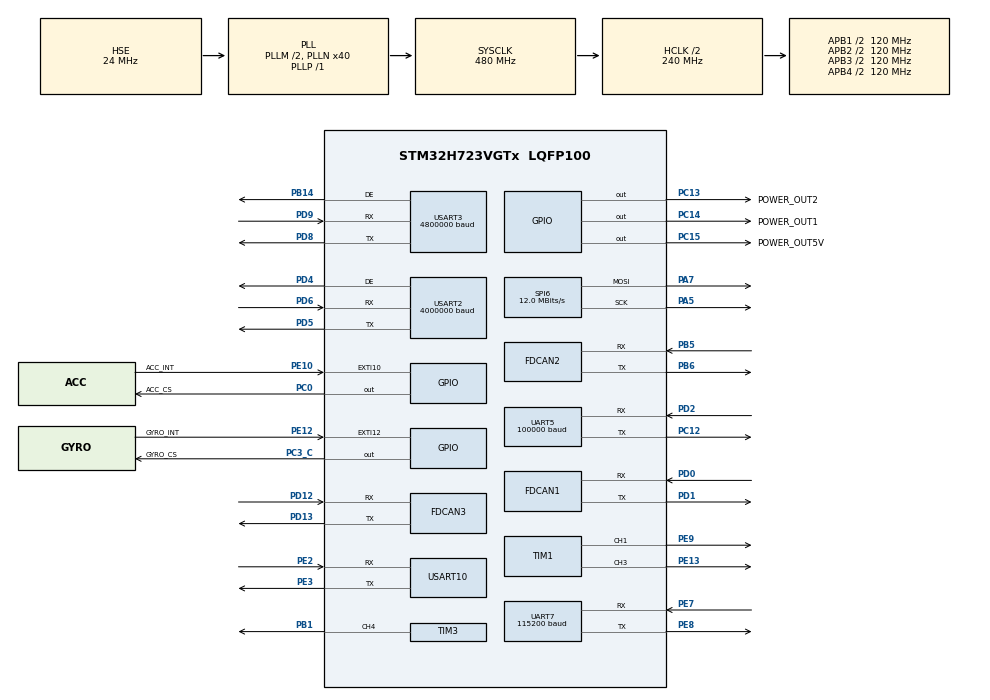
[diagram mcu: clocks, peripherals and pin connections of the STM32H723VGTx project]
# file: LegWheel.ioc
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CRC.DefaultPolynomialUse=DEFAULT_POLYNOMIAL_DISABLE
Dma.Request0=USART2_RX
Dma.Request1=UART7_RX
Dma.Request2=UART7_TX
Dma.Request3=USART10_RX
Dma.Request4=USART10_TX
Dma.Request5=UART5_RX
Dma.UART5_RX.5.Direction=DMA_PERIPH_TO_MEMORY
Dma.UART5_RX.5.EventEnable=DISABLE
Dma.UART5_RX.5.FIFOMode=DMA_FIFOMODE_DISABLE
Dma.UART5_RX.5.Instance=DMA1_Stream1
Dma.UART5_RX.5.MemDataAlignment=DMA_MDATAALIGN_BYTE
Dma.UART5_RX.5.MemInc=DMA_MINC_ENABLE
Dma.UART5_RX.5.Mode=DMA_CIRCULAR
Dma.UART5_RX.5.PeriphDataAlignment=DMA_PDATAALIGN_BYTE
Dma.UART5_RX.5.PeriphInc=DMA_PINC_DISABLE
Dma.UART5_RX.5.Polarity=HAL_DMAMUX_REQ_GEN_RISING
Dma.UART5_RX.5.Priority=DMA_PRIORITY_VERY_HIGH
Dma.UART5_RX.5.RequestNumber=1
Dma.UART5_RX.5.SignalID=NONE
Dma.UART5_RX.5.SyncEnable=DISABLE
Dma.UART5_RX.5.SyncPolarity=HAL_DMAMUX_SYNC_NO_EVENT
Dma.UART5_RX.5.SyncRequestNumber=1
Dma.UART5_RX.5.SyncSignalID=NONE
Dma.UART7_RX.1.Direction=DMA_PERIPH_TO_MEMORY
Dma.UART7_RX.1.EventEnable=DISABLE
Dma.UART7_RX.1.FIFOMode=DMA_FIFOMODE_DISABLE
Dma.UART7_RX.1.Instance=DMA2_Stream2
Dma.UART7_RX.1.MemDataAlignment=DMA_MDATAALIGN_BYTE
Dma.UART7_RX.1.MemInc=DMA_MINC_ENABLE
Dma.UART7_RX.1.Mode=DMA_CIRCULAR
Dma.UART7_RX.1.PeriphDataAlignment=DMA_PDATAALIGN_BYTE
Dma.UART7_RX.1.PeriphInc=DMA_PINC_DISABLE
Dma.UART7_RX.1.Polarity=HAL_DMAMUX_REQ_GEN_RISING
Dma.UART7_RX.1.Priority=DMA_PRIORITY_VERY_HIGH
Dma.UART7_RX.1.RequestNumber=1
Dma.UART7_RX.1.SignalID=NONE
Dma.UART7_RX.1.SyncEnable=DISABLE
Dma.UART7_RX.1.SyncPolarity=HAL_DMAMUX_SYNC_NO_EVENT
Dma.UART7_RX.1.SyncRequestNumber=1
Dma.UART7_RX.1.SyncSignalID=NONE
Dma.UART7_TX.2.Direction=DMA_MEMORY_TO_PERIPH
Dma.UART7_TX.2.EventEnable=DISABLE
Dma.UART7_TX.2.FIFOMode=DMA_FIFOMODE_DISABLE
Dma.UART7_TX.2.Instance=DMA2_Stream1
Dma.UART7_TX.2.MemDataAlignment=DMA_MDATAALIGN_BYTE
Dma.UART7_TX.2.MemInc=DMA_MINC_ENABLE
Dma.UART7_TX.2.Mode=DMA_CIRCULAR
Dma.UART7_TX.2.PeriphDataAlignment=DMA_PDATAALIGN_BYTE
Dma.UART7_TX.2.PeriphInc=DMA_PINC_DISABLE
Dma.UART7_TX.2.Polarity=HAL_DMAMUX_REQ_GEN_RISING
Dma.UART7_TX.2.Priority=DMA_PRIORITY_VERY_HIGH
Dma.UART7_TX.2.RequestNumber=1
Dma.UART7_TX.2.SignalID=NONE
Dma.UART7_TX.2.SyncEnable=DISABLE
Dma.UART7_TX.2.SyncPolarity=HAL_DMAMUX_SYNC_NO_EVENT
Dma.UART7_TX.2.SyncRequestNumber=1
Dma.UART7_TX.2.SyncSignalID=NONE
Dma.USART10_RX.3.Direction=DMA_PERIPH_TO_MEMORY
Dma.USART10_RX.3.EventEnable=DISABLE
Dma.USART10_RX.3.FIFOMode=DMA_FIFOMODE_DISABLE
Dma.USART10_RX.3.Instance=DMA2_Stream3
Dma.USART10_RX.3.MemDataAlignment=DMA_MDATAALIGN_BYTE
Dma.USART10_RX.3.MemInc=DMA_MINC_ENABLE
Dma.USART10_RX.3.Mode=DMA_NORMAL
Dma.USART10_RX.3.PeriphDataAlignment=DMA_PDATAALIGN_BYTE
Dma.USART10_RX.3.PeriphInc=DMA_PINC_DISABLE
Dma.USART10_RX.3.Polarity=HAL_DMAMUX_REQ_GEN_RISING
Dma.USART10_RX.3.Priority=DMA_PRIORITY_VERY_HIGH
Dma.USART10_RX.3.RequestNumber=1
Dma.USART10_RX.3.SignalID=NONE
Dma.USART10_RX.3.SyncEnable=DISABLE
Dma.USART10_RX.3.SyncPolarity=HAL_DMAMUX_SYNC_NO_EVENT
Dma.USART10_RX.3.SyncRequestNumber=1
Dma.USART10_RX.3.SyncSignalID=NONE
Dma.USART10_TX.4.Direction=DMA_MEMORY_TO_PERIPH
Dma.USART10_TX.4.EventEnable=DISABLE
Dma.USART10_TX.4.FIFOMode=DMA_FIFOMODE_DISABLE
Dma.USART10_TX.4.Instance=DMA2_Stream4
Dma.USART10_TX.4.MemDataAlignment=DMA_MDATAALIGN_BYTE
Dma.USART10_TX.4.MemInc=DMA_MINC_ENABLE
Dma.USART10_TX.4.Mode=DMA_NORMAL
Dma.USART10_TX.4.PeriphDataAlignment=DMA_PDATAALIGN_BYTE
Dma.USART10_TX.4.PeriphInc=DMA_PINC_DISABLE
Dma.USART10_TX.4.Polarity=HAL_DMAMUX_REQ_GEN_RISING
Dma.USART10_TX.4.Priority=DMA_PRIORITY_VERY_HIGH
Dma.USART10_TX.4.RequestNumber=1
Dma.USART10_TX.4.SignalID=NONE
Dma.USART10_TX.4.SyncEnable=DISABLE
Dma.USART10_TX.4.SyncPolarity=HAL_DMAMUX_SYNC_NO_EVENT
Dma.USART10_TX.4.SyncRequestNumber=1
Dma.USART10_TX.4.SyncSignalID=NONE
Dma.USART2_RX.0.Direction=DMA_PERIPH_TO_MEMORY
Dma.USART2_RX.0.EventEnable=DISABLE
Dma.USART2_RX.0.FIFOMode=DMA_FIFOMODE_DISABLE
Dma.USART2_RX.0.Instance=DMA1_Stream0
Dma.USART2_RX.0.MemDataAlignment=DMA_MDATAALIGN_BYTE
Dma.USART2_RX.0.MemInc=DMA_MINC_ENABLE
Dma.USART2_RX.0.Mode=DMA_CIRCULAR
Dma.USART2_RX.0.PeriphDataAlignment=DMA_PDATAALIGN_BYTE
Dma.USART2_RX.0.PeriphInc=DMA_PINC_DISABLE
Dma.USART2_RX.0.Polarity=HAL_DMAMUX_REQ_GEN_RISING
Dma.USART2_RX.0.Priority=DMA_PRIORITY_VERY_HIGH
Dma.USART2_RX.0.RequestNumber=1
Dma.USART2_RX.0.SignalID=NONE
Dma.USART2_RX.0.SyncEnable=DISABLE
Dma.USART2_RX.0.SyncPolarity=HAL_DMAMUX_SYNC_NO_EVENT
Dma.USART2_RX.0.SyncRequestNumber=1
Dma.USART2_RX.0.SyncSignalID=NONE
FDCAN1.AutoRetransmission=ENABLE
FDCAN1.CalculateBaudRateNominal=1000000
FDCAN1.CalculateTimeBitNominal=1000
FDCAN1.CalculateTimeQuantumNominal=25.0
FDCAN1.DataPrescaler=3
FDCAN1.DataSyncJumpWidth=10
FDCAN1.DataTimeSeg1=29
FDCAN1.DataTimeSeg2=10
FDCAN1.NominalPrescaler=3
FDCAN1.NominalSyncJumpWidth=10
FDCAN1.NominalTimeSeg1=29
FDCAN1.NominalTimeSeg2=10
FDCAN1.ProtocolException=DISABLE
FDCAN1.RxFifo0ElmtsNbr=4
FDCAN1.StdFiltersNbr=1
FDCAN1.TxFifoQueueElmtsNbr=4
FDCAN2.AutoRetransmission=ENABLE
FDCAN2.CalculateBaudRateNominal=1000000
FDCAN2.CalculateTimeBitNominal=1000
FDCAN2.CalculateTimeQuantumNominal=25.0
FDCAN2.DataPrescaler=3
FDCAN2.DataSyncJumpWidth=10
FDCAN2.DataTimeSeg1=29
FDCAN2.DataTimeSeg2=10
FDCAN2.MessageRAMOffset=854
FDCAN2.NominalPrescaler=3
FDCAN2.NominalSyncJumpWidth=10
FDCAN2.NominalTimeSeg1=29
FDCAN2.NominalTimeSeg2=10
FDCAN2.ProtocolException=DISABLE
FDCAN2.RxFifo0ElmtsNbr=4
FDCAN2.RxFifo1ElmtsNbr=0
FDCAN2.StdFiltersNbr=1
FDCAN2.TxFifoQueueElmtsNbr=4
FDCAN3.AutoRetransmission=ENABLE
FDCAN3.CalculateBaudRateNominal=1000000
FDCAN3.CalculateTimeBitNominal=1000
FDCAN3.CalculateTimeQuantumNominal=25.0
FDCAN3.DataPrescaler=3
FDCAN3.DataSyncJumpWidth=10
FDCAN3.DataTimeSeg1=29
FDCAN3.DataTimeSeg2=10
FDCAN3.MessageRAMOffset=1708
FDCAN3.NominalPrescaler=3
FDCAN3.NominalSyncJumpWidth=10
FDCAN3.NominalTimeSeg1=29
FDCAN3.NominalTimeSeg2=10
FDCAN3.ProtocolException=DISABLE
FDCAN3.RxFifo0ElmtsNbr=4
FDCAN3.RxFifo1ElmtsNbr=0
FDCAN3.StdFiltersNbr=1
FDCAN3.TxFifoQueueElmtsNbr=4
FREERTOS.Tasks01=defaultTask,8,128,StartDefaultTask,Default,NULL,Dynamic,NULL,NULL;BoardcommTask,24,128,StartBoardcommTask,Default,NULL,Dynamic,NULL,NULL;VofaTask,8,128,StartVofaTask,Default,NULL,Dynamic,NULL,NULL;ET16STask,24,128,StartET16STask,Default,NULL,Dynamic,NULL,NULL;CloudTask,24,256,StartCloudTask,Default,NULL,Dynamic,NULL,NULL;ControlLoopTask,48,512,StartControlLoopTask,Default,NULL,Dynamic,NULL,NULL
FREERTOS.configTOTAL_HEAP_SIZE=16384
Mcu.Family=STM32H7
Mcu.Name=STM32H723VGTx
Mcu.Package=LQFP100
NVIC.DMA1_Stream0_IRQn=true\:5\:0\:false\:false\:true\:true\:false\:true\:true
NVIC.DMA1_Stream1_IRQn=true\:5\:0\:true\:false\:true\:false\:false\:true\:true
NVIC.DMA2_Stream1_IRQn=true\:5\:0\:false\:false\:true\:true\:false\:true\:true
NVIC.DMA2_Stream2_IRQn=true\:5\:0\:false\:false\:true\:false\:false\:true\:true
NVIC.DMA2_Stream3_IRQn=true\:5\:0\:false\:false\:true\:true\:false\:true\:true
NVIC.DMA2_Stream4_IRQn=true\:5\:0\:false\:false\:true\:false\:false\:true\:true
NVIC.FDCAN1_IT0_IRQn=true\:5\:0\:false\:false\:true\:true\:true\:true\:true
NVIC.FDCAN2_IT0_IRQn=true\:5\:0\:false\:false\:true\:true\:true\:true\:true
NVIC.FDCAN3_IT0_IRQn=true\:5\:0\:false\:false\:true\:true\:true\:true\:true
NVIC.PriorityGroup=NVIC_PRIORITYGROUP_4
NVIC.TIM2_IRQn=true\:15\:0\:false\:false\:true\:false\:false\:true\:true
NVIC.TimeBase=TIM2_IRQn
NVIC.TimeBaseIP=TIM2
NVIC.UART5_IRQn=true\:5\:0\:false\:false\:true\:true\:true\:true\:true
NVIC.UART7_IRQn=true\:5\:0\:false\:false\:true\:true\:true\:true\:true
NVIC.USART10_IRQn=true\:5\:0\:false\:false\:true\:true\:true\:true\:true
NVIC.USART2_IRQn=true\:5\:0\:false\:false\:true\:true\:true\:true\:true
NVIC.USART3_IRQn=true\:5\:0\:false\:false\:true\:true\:true\:true\:true
PA13(JTMS/SWDIO).Mode=Serial_Wire
PA13(JTMS/SWDIO).Signal=DEBUG_JTMS-SWDIO
PA14(JTCK/SWCLK).Mode=Serial_Wire
PA14(JTCK/SWCLK).Signal=DEBUG_JTCK-SWCLK
PA5.GPIO_Speed=GPIO_SPEED_FREQ_VERY_HIGH
PA5.Mode=TX_Only_Simplex_Unidirect_Master
PA5.Signal=SPI6_SCK
PA7.GPIO_Speed=GPIO_SPEED_FREQ_VERY_HIGH
PA7.Mode=TX_Only_Simplex_Unidirect_Master
PA7.Signal=SPI6_MOSI
PB1.Signal=S_TIM3_CH4
PB13.Signal=SPI2_SCK
PB14.GPIO_PuPd=GPIO_PULLDOWN
PB14.GPIO_Speed=GPIO_SPEED_FREQ_VERY_HIGH
PB14.Mode=Hardware Flow Control (RS485)
PB14.Signal=USART3_DE
PB5.GPIO_Speed=GPIO_SPEED_FREQ_LOW
PB5.Mode=FDCAN_Activate
PB5.Signal=FDCAN2_RX
PB6.GPIO_FM6=SYSCFG_PMCR_I2C_PB6_FMP
PB6.GPIO_Speed=GPIO_SPEED_FREQ_LOW
PB6.Mode=FDCAN_Activate
PB6.Signal=FDCAN2_TX
PC0.GPIO_Label=ACC_CS
PC0.GPIO_PuPd=GPIO_NOPULL
PC0.GPIO_Speed=GPIO_SPEED_FREQ_VERY_HIGH
PC0.PinState=GPIO_PIN_SET
PC0.Signal=GPIO_Output
PC12.Mode=Asynchronous
PC12.Signal=UART5_TX
PC13.GPIO_Label=POWER_OUT2
PC13.PinState=GPIO_PIN_SET
PC13.Signal=GPIO_Output
PC14-OSC32_IN.GPIO_Label=POWER_OUT1
PC14-OSC32_IN.PinState=GPIO_PIN_SET
PC14-OSC32_IN.Signal=GPIO_Output
PC15-OSC32_OUT.GPIO_Label=POWER_OUT5V
PC15-OSC32_OUT.PinState=GPIO_PIN_SET
PC15-OSC32_OUT.Signal=GPIO_Output
PC3_C.GPIO_Label=GYRO_CS
PC3_C.GPIO_PuPd=GPIO_NOPULL
PC3_C.GPIO_Speed=GPIO_SPEED_FREQ_VERY_HIGH
PC3_C.PinState=GPIO_PIN_SET
PC3_C.Signal=GPIO_Output
PD0.GPIO_Speed=GPIO_SPEED_FREQ_LOW
PD0.Mode=FDCAN_Activate
PD0.Signal=FDCAN1_RX
PD1.GPIO_Speed=GPIO_SPEED_FREQ_LOW
PD1.Mode=FDCAN_Activate
PD1.Signal=FDCAN1_TX
PD12.Mode=FDCAN_Activate
PD12.Signal=FDCAN3_RX
PD13.Mode=FDCAN_Activate
PD13.Signal=FDCAN3_TX
PD2.Mode=Asynchronous
PD2.Signal=UART5_RX
PD4.GPIO_PuPd=GPIO_PULLDOWN
PD4.GPIO_Speed=GPIO_SPEED_FREQ_VERY_HIGH
PD4.Mode=Hardware Flow Control (RS485)
PD4.Signal=USART2_DE
PD5.GPIO_Speed=GPIO_SPEED_FREQ_VERY_HIGH
PD5.Mode=Asynchronous
PD5.Signal=USART2_TX
PD6.GPIO_Speed=GPIO_SPEED_FREQ_VERY_HIGH
PD6.Mode=Asynchronous
PD6.Signal=USART2_RX
PD8.GPIO_Speed=GPIO_SPEED_FREQ_VERY_HIGH
PD8.Mode=Asynchronous
PD8.Signal=USART3_TX
PD9.GPIO_Speed=GPIO_SPEED_FREQ_VERY_HIGH
PD9.Mode=Asynchronous
PD9.Signal=USART3_RX
PE10.GPIO_Label=ACC_INT
PE10.Signal=GPXTI10
PE12.GPIO_Label=GYRO_INT
PE12.Signal=GPXTI12
PE13.Signal=S_TIM1_CH3
PE2.Mode=Asynchronous
PE2.Signal=USART10_RX
PE3.Mode=Asynchronous
PE3.Signal=USART10_TX
PE7.GPIO_Speed=GPIO_SPEED_FREQ_VERY_HIGH
PE7.Mode=Asynchronous
PE7.Signal=UART7_RX
PE8.GPIO_Speed=GPIO_SPEED_FREQ_VERY_HIGH
PE8.Mode=Asynchronous
PE8.Signal=UART7_TX
PE9.Signal=S_TIM1_CH1
PH0-OSC_IN.Mode=HSE-External-Oscillator
PH0-OSC_IN.Signal=RCC_OSC_IN
PH1-OSC_OUT.Mode=HSE-External-Oscillator
PH1-OSC_OUT.Signal=RCC_OSC_OUT
ProjectManager.HeapSize=0x20000
ProjectManager.StackSize=0x800
ProjectManager.TargetToolchain=MDK-ARM V5.27
RCC.ADCFreq_Value=48375000
RCC.APB1Freq_Value=120000000
RCC.APB2Freq_Value=120000000
RCC.APB3Freq_Value=120000000
RCC.APB4Freq_Value=120000000
RCC.CortexFreq_Value=480000000
RCC.D1PPRE=RCC_APB3_DIV2
RCC.D2PPRE1=RCC_APB1_DIV2
RCC.D2PPRE2=RCC_APB2_DIV2
RCC.D3PPRE=RCC_APB4_DIV2
RCC.DIVM1=2
RCC.DIVN1=40
RCC.DIVP1=1
RCC.DIVQ1=4
RCC.HCLKFreq_Value=240000000
RCC.HPRE=RCC_HCLK_DIV2
RCC.HSE_VALUE=24000000
RCC.PLL2FRACN=0
RCC.PLL3FRACN=0
RCC.PLLFRACN=0
RCC.PLLSourceVirtual=RCC_PLLSOURCE_HSE
RCC.SPI6CLockSelection=RCC_SPI6CLKSOURCE_HSE
RCC.SYSCLKFreq_VALUE=480000000
RCC.SYSCLKSource=RCC_SYSCLKSOURCE_PLLCLK
RCC.USBFreq_Value=120000000
SH.S_TIM1_CH1.0=TIM1_CH1,PWM Generation1 CH1
SH.S_TIM1_CH3.0=TIM1_CH3,PWM Generation3 CH3
SH.S_TIM3_CH4.0=TIM3_CH4,PWM Generation4 CH4
SPI6.CalculateBaudRate=12.0 MBits/s
SPI6.Direction=SPI_DIRECTION_2LINES_TXONLY
SPI6.Mode=SPI_MODE_MASTER
SPI6.VirtualType=VM_MASTER
TIM1.Channel-PWM\ Generation1\ CH1=TIM_CHANNEL_1
TIM1.Channel-PWM\ Generation3\ CH3=TIM_CHANNEL_3
TIM3.Channel-PWM\ Generation4\ CH4=TIM_CHANNEL_4
TIM3.Period=2000-1
TIM3.Prescaler=84-1
UART5.BaudRate=100000
UART5.Parity=PARITY_EVEN
UART5.StopBits=UART_STOPBITS_2
UART5.WordLength=WORDLENGTH_9B
UART7.BaudRate=115200
USART10.VirtualMode=VM_ASYNC
USART2.BaudRate=4000000
USART2.DMADisableonRxErrorParam=ADVFEATURE_DMA_ENABLEONRXERROR
USART2.OverSampling=UART_OVERSAMPLING_8
USART2.OverrunDisableParam=ADVFEATURE_OVERRUN_ENABLE
USART2.RXFIFOThreshold=RXFIFO_THRESHOLD_1EIGHTHFULL
USART2.TXFIFOThreshold=TXFIFO_THRESHOLD_1EIGHTHFULL
USART2.VirtualMode-Asynchronous=VM_ASYNC
USART2.VirtualMode-Hardware\ Flow\ Control\ (RS485)=VM_ASYNC
USART3.BaudRate=4800000
USART3.VirtualMode-Asynchronous=VM_ASYNC
USART3.VirtualMode-Hardware\ Flow\ Control\ (RS485)=VM_ASYNC
VP_CRC_VS_CRC.Mode=CRC_Activate
VP_FREERTOS_VS_CMSIS_V2.Mode=CMSIS_V2
VP_MEMORYMAP_VS_MEMORYMAP.Mode=CurAppReg
VP_SYS_VS_tim2.Mode=TIM2
board=custom

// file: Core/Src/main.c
/* USER CODE BEGIN Header */
/**
 ******************************************************************************
 * @file           : main.c
 * @brief          : Main program body
 ******************************************************************************
 * @attention
 *
 * Copyright (c) 2024 STMicroelectronics.
 * All rights reserved.
 *
 * This software is licensed under terms that can be found in the LICENSE file
 * in the root directory of this software component.
 * If no LICENSE file comes with this software, it is provided AS-IS.
 *
 ******************************************************************************
 */
/* USER CODE END Header */
#include "main.h"
#include "cmsis_os.h"
#include "crc.h"
#include "dma.h"
#include "fdcan.h"
#include "spi.h"
#include "tim.h"
#include "usart.h"
#include "gpio.h"

/* USER CODE BEGIN Includes */
#include "BSP_fdcan.h"
#include "N100.h"
#include "SDM02.h"
#include "Task_manager.h"
#include "arm_math.h"
#include "bsp_dwt.h"
#include "math.h"
#include "stdint.h"
#include "stdlib.h"

/* USER CODE END Includes */

void SystemClock_Config(void);
void MX_FREERTOS_Init(void);

int main(void)
{

  /* MCU Configuration--------------------------------------------------------*/

  /* Reset of all peripherals, Initializes the Flash interface and the Systick. */
  HAL_Init();

  /* Configure the system clock */
  SystemClock_Config();

  /* USER CODE BEGIN SysInit */
  HAL_NVIC_SetPriority(SysTick_IRQn, 0, 0);
  /* USER CODE END SysInit */

  /* Initialize all configured peripherals */
  MX_GPIO_Init();
  MX_DMA_Init();
  MX_SPI6_Init();
  MX_FDCAN1_Init();
  MX_FDCAN2_Init();
  MX_USART2_UART_Init();
  MX_USART3_UART_Init();
  MX_CRC_Init();
  MX_UART7_Init();
  MX_TIM3_Init();
  MX_FDCAN3_Init();
  MX_USART10_UART_Init();
  MX_UART5_Init();
  MX_TIM1_Init();
  /* USER CODE BEGIN 2 */
  // 确保 HAL 库已经更新了 SystemCoreClock 变量
  SystemCoreClockUpdate();
  DWT_Init(SystemCoreClock / 1000000);
  Can_Fun.can_bsp_init();
  (void)SDM02_Init();
  /* USER CODE END 2 */

  /* Init scheduler */
  osKernelInitialize();

  /* Call init function for freertos objects (in cmsis_os2.c) */
  MX_FREERTOS_Init();

  /* Start scheduler */
  osKernelStart();

  /* We should never get here as control is now taken by the scheduler */

  /* Infinite loop */
  while (1) {

  }
}

void SystemClock_Config(void)
{
  RCC_OscInitTypeDef RCC_OscInitStruct = {0};
  RCC_ClkInitTypeDef RCC_ClkInitStruct = {0};

  /** Supply configuration update enable
  */
  HAL_PWREx_ConfigSupply(PWR_LDO_SUPPLY);

  /** Configure the main internal regulator output voltage
  */
  __HAL_PWR_VOLTAGESCALING_CONFIG(PWR_REGULATOR_VOLTAGE_SCALE0);

  while(!__HAL_PWR_GET_FLAG(PWR_FLAG_VOSRDY)) {}

  /** Initializes the RCC Oscillators according to the specified parameters
  * in the RCC_OscInitTypeDef structure.
  */
  RCC_OscInitStruct.OscillatorType = RCC_OSCILLATORTYPE_HSE;
  RCC_OscInitStruct.HSEState = RCC_HSE_ON;
  RCC_OscInitStruct.PLL.PLLState = RCC_PLL_ON;
  RCC_OscInitStruct.PLL.PLLSource = RCC_PLLSOURCE_HSE;
  RCC_OscInitStruct.PLL.PLLM = 2;
  RCC_OscInitStruct.PLL.PLLN = 40;
  RCC_OscInitStruct.PLL.PLLP = 1;
  RCC_OscInitStruct.PLL.PLLQ = 4;
  RCC_OscInitStruct.PLL.PLLR = 2;
  RCC_OscInitStruct.PLL.PLLRGE = RCC_PLL1VCIRANGE_3;
  RCC_OscInitStruct.PLL.PLLVCOSEL = RCC_PLL1VCOWIDE;
  RCC_OscInitStruct.PLL.PLLFRACN = 0;
  if (HAL_RCC_OscConfig(&RCC_OscInitStruct) != HAL_OK)
  {
    Error_Handler();
  }

  /** Initializes the CPU, AHB and APB buses clocks
  */
  RCC_ClkInitStruct.ClockType = RCC_CLOCKTYPE_HCLK|RCC_CLOCKTYPE_SYSCLK
                              |RCC_CLOCKTYPE_PCLK1|RCC_CLOCKTYPE_PCLK2
                              |RCC_CLOCKTYPE_D3PCLK1|RCC_CLOCKTYPE_D1PCLK1;
  RCC_ClkInitStruct.SYSCLKSource = RCC_SYSCLKSOURCE_PLLCLK;
  RCC_ClkInitStruct.SYSCLKDivider = RCC_SYSCLK_DIV1;
  RCC_ClkInitStruct.AHBCLKDivider = RCC_HCLK_DIV2;
  RCC_ClkInitStruct.APB3CLKDivider = RCC_APB3_DIV2;
  RCC_ClkInitStruct.APB1CLKDivider = RCC_APB1_DIV2;
  RCC_ClkInitStruct.APB2CLKDivider = RCC_APB2_DIV2;
  RCC_ClkInitStruct.APB4CLKDivider = RCC_APB4_DIV2;

  if (HAL_RCC_ClockConfig(&RCC_ClkInitStruct, FLASH_LATENCY_3) != HAL_OK)
  {
    Error_Handler();
  }
}

/* USER CODE BEGIN 4 */
// void HAL_IncTick(void)
//{
//	if(uwTickFreq==0)
//	{
//		uwTickFreq = HAL_TICK_FREQ_DEFAULT;
//	}
//   uwTick += uwTickFreq;
// }

/* USER CODE END 4 */

void HAL_TIM_PeriodElapsedCallback(TIM_HandleTypeDef *htim)
{
  if (htim->Instance == TIM2)
  {
    HAL_IncTick();
  }
}

void Error_Handler(void)
{
  /* USER CODE BEGIN Error_Handler_Debug */
  /* User can add his own implementation to report the HAL error return state */
  __disable_irq();
  while (1) {
    // WS2812_Ctrl(0,200,0);
  }
  /* USER CODE END Error_Handler_Debug */
}

#ifdef  USE_FULL_ASSERT
/**
  * @brief  Reports the name of the source file and the source line number
  *         where the assert_param error has occurred.
  * @param  file: pointer to the source file name
  * @param  line: assert_param error line source number
  * @retval None
  */
void assert_failed(uint8_t *file, uint32_t line)
{
  /* USER CODE BEGIN 6 */
  /* User can add his own implementation to report the file name and line
     number, ex: printf("Wrong parameters value: file %s on line %d\r\n", file,
     line) */
  /* USER CODE END 6 */
}
#endif /* USE_FULL_ASSERT */

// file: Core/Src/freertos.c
/* USER CODE BEGIN Header */
/**
 ******************************************************************************
 * File Name          : freertos.c
 * Description        : Code for freertos applications
 ******************************************************************************
 * @attention
 *
 * Copyright (c) 2024 STMicroelectronics.
 * All rights reserved.
 *
 * This software is licensed under terms that can be found in the LICENSE file
 * in the root directory of this software component.
 * If no LICENSE file comes with this software, it is provided AS-IS.
 *
 ******************************************************************************
 */
/* USER CODE END Header */

#include "FreeRTOS.h"
#include "cmsis_os.h"
#include "main.h"
#include "task.h"

/* USER CODE BEGIN Includes */
#include "N100.h"
#include "SBUS.h"
#include "Saber_C3.h"
#include "Task_manager.h"
#include "board_comm.h"
#include "bsp_dwt.h"
#include "ins.h"
#include "vofa.h"
#include "ws2812.h"

// #include "BMI088driver.h"
/* USER CODE END Includes */

/* Definitions for defaultTask */
osThreadId_t defaultTaskHandle;
const osThreadAttr_t defaultTask_attributes = {
    .name = "defaultTask",
    .stack_size = 128 * 4,
    .priority = (osPriority_t)osPriorityLow,
};
/* Definitions for BoardcommTask */
osThreadId_t BoardcommTaskHandle;
const osThreadAttr_t BoardcommTask_attributes = {
    .name = "BoardcommTask",
    .stack_size = 128 * 4,
    .priority = (osPriority_t)osPriorityNormal,
};
/* Definitions for VofaTask */
osThreadId_t VofaTaskHandle;
const osThreadAttr_t VofaTask_attributes = {
    .name = "VofaTask",
    .stack_size = 128 * 4,
    // Keep telemetry below the 1 kHz realtime control loop, but above ordinary
    // background work.  At Low priority it was starved whenever the control
    // loop overran, leaving VOFA with only occasional (blue-light) frames.
    .priority = (osPriority_t)osPriorityAboveNormal,
};
/* Definitions for ET16STask */
osThreadId_t ET16STaskHandle;
const osThreadAttr_t ET16STask_attributes = {
    .name = "ET16STask",
    .stack_size = 128 * 4,
    .priority = (osPriority_t)osPriorityNormal,
};
/* Definitions for CloudTask */
osThreadId_t CloudTaskHandle;
const osThreadAttr_t CloudTask_attributes = {
    .name = "CloudTask",
    .stack_size = 256 * 4,
    .priority = (osPriority_t)osPriorityNormal,
};
/* Definitions for ControlLoopTask */
osThreadId_t ControlLoopTaskHandle;
const osThreadAttr_t ControlLoopTask_attributes = {
    .name = "ControlLoopTask",
    .stack_size = 512 * 4,
    .priority = (osPriority_t)osPriorityRealtime,
};

void StartDefaultTask(void *argument);
void StartBoardcommTask(void *argument);
void StartVofaTask(void *argument);
void StartET16STask(void *argument);
void StartCloudTask(void *argument);
void StartControlLoopTask(void *argument);

void MX_FREERTOS_Init(void); /* (MISRA C 2004 rule 8.1) */

void MX_FREERTOS_Init(void) {

  /* Create the thread(s) */
  /* creation of defaultTask */
  defaultTaskHandle =
      osThreadNew(StartDefaultTask, NULL, &defaultTask_attributes);

  /* creation of BoardcommTask */
  BoardcommTaskHandle =
      osThreadNew(StartBoardcommTask, NULL, &BoardcommTask_attributes);

  /* creation of VofaTask */
  VofaTaskHandle = osThreadNew(StartVofaTask, NULL, &VofaTask_attributes);

  /* creation of ET16STask */
  ET16STaskHandle = osThreadNew(StartET16STask, NULL, &ET16STask_attributes);

  /* creation of CloudTask */
  CloudTaskHandle = osThreadNew(StartCloudTask, NULL, &CloudTask_attributes);

  /* creation of ControlLoopTask */
  ControlLoopTaskHandle =
      osThreadNew(StartControlLoopTask, NULL, &ControlLoopTask_attributes);

}

void StartDefaultTask(void *argument) {
  /* USER CODE BEGIN StartDefaultTask */
  /* Infinite loop */
  for (;;) {
    WS2812_Ctrl(50, 0, 0);
    osDelay(500);
    WS2812_Ctrl(10, 10, 50);
    osDelay(500);
  }
  /* USER CODE END StartDefaultTask */
}

void StartBoardcommTask(void *argument) {
  /* USER CODE BEGIN StartBoardcommTask */
  static float board_start;
  static float board_dt;
  //	 BoardCommInit(&board_comm,&hfdcan2, 0x11f);
  Board2_FUN.BoardCommInit(&hfdcan2);
  /* Infinite loop */
  for (;;) {
    board_start = DWT_GetTimeline_ms();
    boardCommunicateTask();
    board_dt = DWT_GetTimeline_ms() - board_start;
    osDelay(1);
  }
  /* USER CODE END StartBoardcommTask */
}

void StartVofaTask(void *argument) {
  /* USER CODE BEGIN StartVofaTask */
  /* Infinite loop */
  for (;;) {
    vofaTask();
    // 独立于控制环发送：即使控制环异常（卡死/任务未创建），VOFA 仍持续出数据，
    // 便于上位机诊断。13 路 JustFloat 在 115200 baud 下约 4.9 ms，
    // 再延时 5 ms 后保持约 110 Hz，且该发送仍独立于 1 kHz 控制任务。
    Vofa_JustFloat(Vofa.data, 13);
    osDelay(5);
  }
  /* USER CODE END StartVofaTask */
}

void StartET16STask(void *argument) {
  /* USER CODE BEGIN StartET16STask */
  static float ET16S_start;
  static float ET16S_dt;
  SBUS_Init(&huart5);
  /* Infinite loop */
  for (;;) {
    ET16S_start = DWT_GetTimeline_ms();
    SBUS_Handle();
    ET16S_dt = DWT_GetTimeline_ms() - ET16S_start;
    osDelay(1);
  }
  /* USER CODE END StartET16STask */
}

void StartCloudTask(void *argument) {
  /* USER CODE BEGIN StartCloudTask */
  static float cloud_start;
  static float cloud_dt;
  CloudInit();
  /* Infinite loop */
  for (;;) {
    cloud_start = DWT_GetTimeline_ms();
    Cloud_ControlTask();
    cloud_dt = DWT_GetTimeline_ms() - cloud_start;
    osDelay(1);
  }
  /* USER CODE END StartCloudTask */
}

void StartControlLoopTask(void *argument) {
  /* USER CODE BEGIN StartControlLoopTask */
  // 初始化

  INS_Init();
  ObserverInit();
  ChassisInit();
  TickType_t xLastWakeTime;
  const TickType_t xFrequency = 1;
  xLastWakeTime = xTaskGetTickCount();
  /* Infinite loop */
  for (;;) {
    uint32_t start_time = DWT_GetTimeline_ms();

    // 1. 读传感器 (最先做，保证数据最新)
    INS_Task(); // 读取IMU

    // 2. 状态观测 (紧接传感器)
    ObserveTask(); // 计算卡尔曼滤波/状态观测器

    // 3. 底盘任务
    ChassisTask();

    // 4. 控制指令下发电机
    DM_MotorTask();   // 打包电机CAN协议
    WheelMotorTask(); // 发送CAN数据

    SDM02Task(); // 仅在起跳前压缩准备阶段开启测距

    // 注意：这里不再调用 vofaTask()。vofaTask() 写 Vofa.data，若同时被本 1kHz
    // 控制环与 110Hz 的 VofaTask 任务调用，两个任务会竞争写同一数组，导致
    // data[10](骤降) 与 data[12](置信度) 出现不同步（VOFA 上 conf 偶尔不等于
    // 0.5*pitch+0.5*spike）。VOFA 数据刷新与发送统一由独立任务 StartVofaTask 完成。

    // 性能监测
    float execution_time = DWT_GetTimeline_ms() - start_time;

    // 绝对延时，确保周期精准
    vTaskDelayUntil(&xLastWakeTime, xFrequency);
  }
  /* USER CODE END StartControlLoopTask */
}
